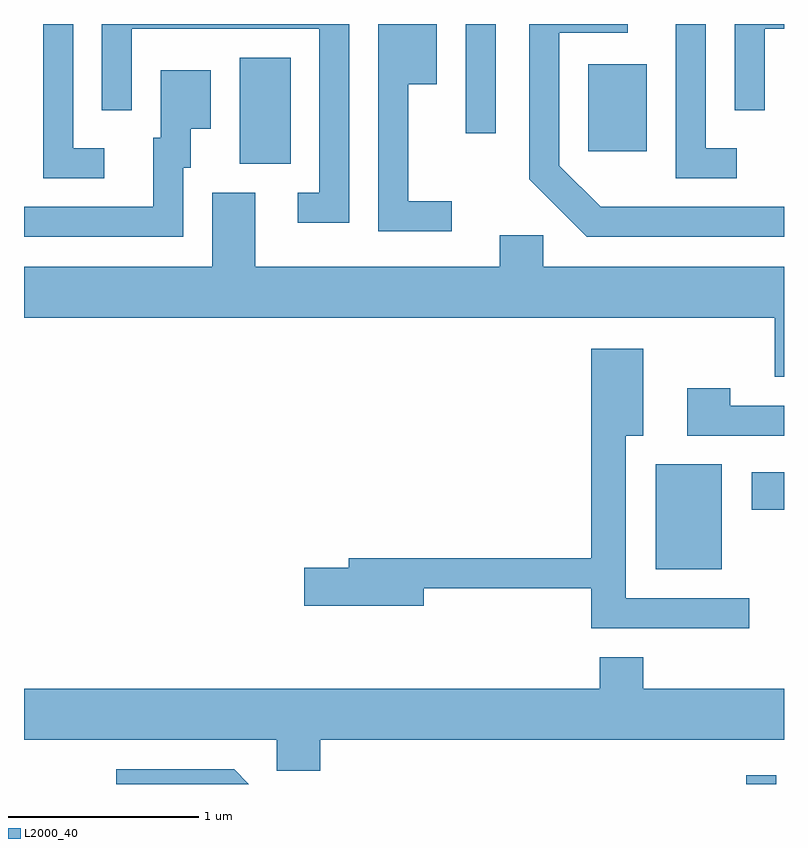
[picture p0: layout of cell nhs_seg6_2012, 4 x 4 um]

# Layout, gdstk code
import gdstk
lib = gdstk.Library(unit=1e-6, precision=1e-09)
def R(c, l, rs):  # rectangles x0, y0, x1, y1
    for r in rs: c.add(gdstk.rectangle(r[:2], r[2:], *l))
def P(c, l, *ps):  # polygons
    for p in ps: c.add(gdstk.Polygon(p, *l))
L2000_40 = (2000, 40)

nhs_seg6_2012 = lib.new_cell('nhs_seg6_2012')
R(nhs_seg6_2012, L2000_40, [(249.411,1634.162,249.569,1634.208), (248.936,1635.291,249.284,1635.844), (249.441,1635.606,249.611,1635.804), (246.746,1637.426,247.014,1637.984), (248.581,1637.491,248.889,1637.949), (247.936,1637.588,248.094,1638.162)])
P(nhs_seg6_2012, L2000_40, [(247.324,1638.162),(246.021,1638.162),(246.021,1637.708),(246.179,1637.708),(246.179,1638.136),(247.166,1638.136),(247.166,1637.274),(247.053,1637.274),(247.053,1637.116),(247.324,1637.116)],
  [(247.863,1637.229),(247.634,1637.229),(247.634,1637.846),(247.784,1637.846),(247.784,1638.162),(247.476,1638.162),(247.476,1637.071),(247.863,1637.071)],
  [(249.509,1638.136),(249.611,1638.136),(249.611,1638.162),(249.351,1638.162),(249.351,1637.708),(249.509,1637.708)],
  [(249.611,1637.199),(248.647,1637.199),(248.429,1637.417),(248.429,1638.116),(248.788,1638.116),(248.788,1638.162),(248.271,1638.162),(248.271,1637.344),(248.574,1637.041),(249.611,1637.041)],
  [(249.363,1637.509),(249.199,1637.509),(249.199,1638.162),(249.041,1638.162),(249.041,1637.351),(249.363,1637.351)],
  [(246.033,1637.509),(245.869,1637.509),(245.869,1638.162),(245.711,1638.162),(245.711,1637.351),(246.033,1637.351)],
  [(246.449,1637.406),(246.489,1637.406),(246.489,1637.611),(246.594,1637.611),(246.594,1637.919),(246.331,1637.919),(246.331,1637.564),(246.291,1637.564),(246.291,1637.199),(245.611,1637.199),(245.611,1637.041),(246.449,1637.041)],
  [(249.611,1636.884),(248.344,1636.884),(248.344,1637.049),(248.116,1637.049),(248.116,1636.884),(246.829,1636.884),(246.829,1637.274),(246.601,1637.274),(246.601,1636.884),(245.611,1636.884),(245.611,1636.616),(249.561,1636.616),(249.561,1636.306),(249.611,1636.306)],
  [(249.428,1635.139),(248.779,1635.139),(248.779,1635.996),(248.869,1635.996),(248.869,1636.454),(248.596,1636.454),(248.596,1635.349),(247.321,1635.349),(247.321,1635.299),(247.086,1635.299),(247.086,1635.101),(247.714,1635.101),(247.714,1635.191),(248.596,1635.191),(248.596,1634.981),(249.428,1634.981)],
  [(249.611,1636.154),(249.329,1636.154),(249.329,1636.244),(249.101,1636.244),(249.101,1635.996),(249.611,1635.996)],
  [(247.169,1634.396),(249.611,1634.396),(249.611,1634.664),(248.869,1634.664),(248.869,1634.829),(248.641,1634.829),(248.641,1634.664),(245.611,1634.664),(245.611,1634.396),(246.941,1634.396),(246.941,1634.231),(247.169,1634.231)],
  [(246.717,1634.239),(246.096,1634.239),(246.096,1634.162),(246.794,1634.162)])

lib.write_gds('nhs_seg6_2012.gds')
